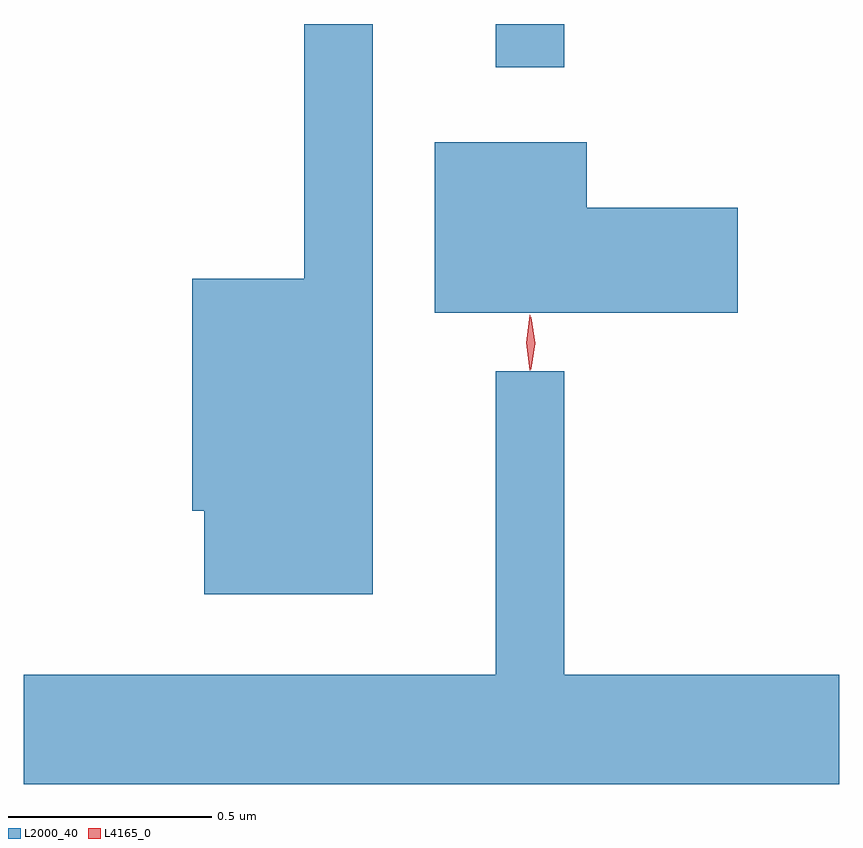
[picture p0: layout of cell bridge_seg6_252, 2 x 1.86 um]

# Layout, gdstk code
import gdstk
lib = gdstk.Library(unit=1e-6, precision=1e-09)
def R(c, l, rs):  # rectangles x0, y0, x1, y1
    for r in rs: c.add(gdstk.rectangle(r[:2], r[2:], *l))
def P(c, l, *ps):  # polygons
    for p in ps: c.add(gdstk.Polygon(p, *l))
L2000_40 = (2000, 40)
L4165_0 = (4165, 0)

bridge_seg6_252 = lib.new_cell('bridge_seg6_252')
R(bridge_seg6_252, L2000_40, [(1133.241,1542.913,1133.409,1543.019)])
P(bridge_seg6_252, L2000_40, [(1132.939,1543.019),(1132.771,1543.019),(1132.771,1542.394),(1132.496,1542.394),(1132.496,1541.826),(1132.526,1541.826),(1132.526,1541.621),(1132.939,1541.621)],
  [(1133.834,1542.569),(1133.464,1542.569),(1133.464,1542.729),(1133.091,1542.729),(1133.091,1542.311),(1133.834,1542.311)],
  [(1134.083,1541.424),(1133.409,1541.424),(1133.409,1542.168),(1133.241,1542.168),(1133.241,1541.424),(1132.083,1541.424),(1132.083,1541.156),(1134.083,1541.156)])
P(bridge_seg6_252, L4165_0, [(1133.327,1542.173),(1133.326,1542.174),(1133.317,1542.236),(1133.326,1542.3),(1133.327,1542.3),(1133.328,1542.3),(1133.337,1542.236),(1133.328,1542.174)],
  [(1133.324,1542.17),(1133.315,1542.238),(1133.324,1542.305),(1133.324,1542.306),(1133.325,1542.305),(1133.334,1542.238),(1133.325,1542.17),(1133.325,1542.17)])

lib.write_gds('bridge_seg6_252.gds')
